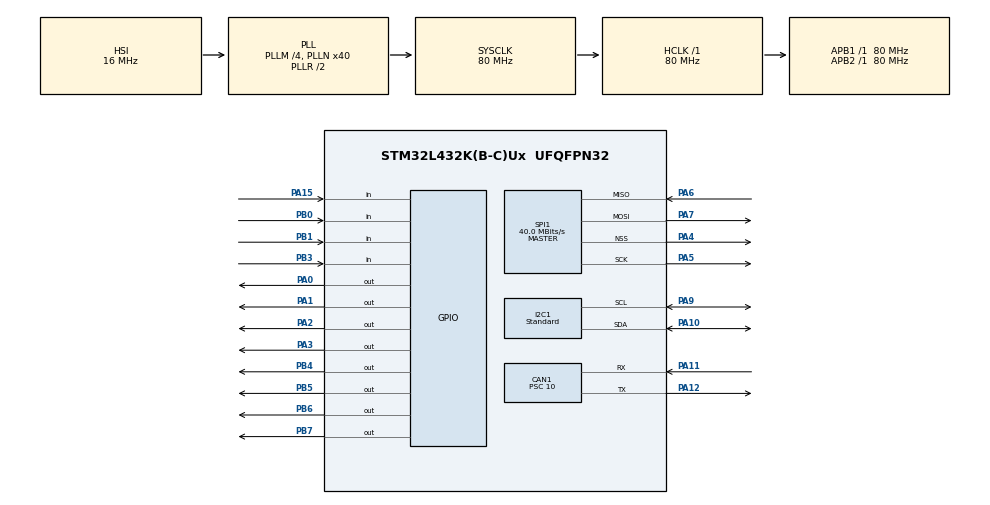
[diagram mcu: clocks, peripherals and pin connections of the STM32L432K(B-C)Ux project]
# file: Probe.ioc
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CAN1.ABOM=ENABLE
CAN1.AWUM=ENABLE
CAN1.BS1=CAN_BS1_13TQ
CAN1.BS2=CAN_BS2_2TQ
CAN1.CalculateBaudRate=500000
CAN1.CalculateTimeBit=2000
CAN1.CalculateTimeQuantum=125.0
CAN1.NART=DISABLE
CAN1.Prescaler=10
CAN1.TXFP=ENABLE
I2C1.CustomTiming=Disabled
I2C1.I2C_Speed_Mode=I2C_Standard
I2C1.Timing=0x10909CEC
Mcu.Family=STM32L4
Mcu.Name=STM32L432K(B-C)Ux
Mcu.Package=UFQFPN32
NVIC.CAN1_RX0_IRQn=true\:1\:0\:true\:false\:true\:true\:true\:true
NVIC.CAN1_SCE_IRQn=true\:2\:0\:true\:false\:true\:true\:true\:true
NVIC.PriorityGroup=NVIC_PRIORITYGROUP_2
NVIC.RCC_IRQn=true\:0\:1\:false\:false\:true\:true\:false\:true
NVIC.RTC_WKUP_IRQn=true\:0\:2\:false\:false\:true\:true\:true\:true
PA0.Signal=GPIO_Output
PA1.Signal=GPIO_Output
PA10.GPIO_Pu=GPIO_PULLUP
PA10.Mode=I2C
PA10.Signal=I2C1_SDA
PA11.Mode=CAN_Activate
PA11.Signal=CAN1_RX
PA12.Mode=CAN_Activate
PA12.Signal=CAN1_TX
PA13\ (JTMS-SWDIO).Mode=Serial_Wire
PA13\ (JTMS-SWDIO).Signal=SYS_JTMS-SWDIO
PA14\ (JTCK-SWCLK).Mode=Serial_Wire
PA14\ (JTCK-SWCLK).Signal=SYS_JTCK-SWCLK
PA15\ (JTDI).Signal=GPIO_Input
PA2.Signal=GPIO_Output
PA3.Signal=GPIO_Output
PA4.Mode=NSS_Signal_Hard_Output
PA4.Signal=SPI1_NSS
PA5.Mode=Full_Duplex_Master
PA5.Signal=SPI1_SCK
PA6.Mode=Full_Duplex_Master
PA6.Signal=SPI1_MISO
PA7.Mode=Full_Duplex_Master
PA7.Signal=SPI1_MOSI
PA9.GPIO_Pu=GPIO_PULLUP
PA9.Mode=I2C
PA9.Signal=I2C1_SCL
PB0.Signal=GPIO_Input
PB1.Signal=GPIO_Input
PB3\ (JTDO-TRACESWO).Signal=GPIO_Input
PB4\ (NJTRST).Signal=GPIO_Output
PB5.Signal=GPIO_Output
PB6.Signal=GPIO_Output
PB7.Signal=GPIO_Output
PC14-OSC32_IN\ (PC14).Mode=LSE-External-Oscillator
PC14-OSC32_IN\ (PC14).Signal=RCC_OSC32_IN
PC15-OSC32_OUT\ (PC15).Mode=LSE-External-Oscillator
PC15-OSC32_OUT\ (PC15).Signal=RCC_OSC32_OUT
ProjectManager.HeapSize=0x200
ProjectManager.StackSize=0x400
ProjectManager.TargetToolchain=STM32CubeIDE
RCC.ADCFreq_Value=20000000
RCC.AHBFreq_Value=80000000
RCC.APB1Freq_Value=80000000
RCC.APB1TimFreq_Value=80000000
RCC.APB2Freq_Value=80000000
RCC.APB2TimFreq_Value=80000000
RCC.CortexFreq_Value=80000000
RCC.HCLKFreq_Value=80000000
RCC.HSE_VALUE=8000000
RCC.HSI48_VALUE=48000000
RCC.HSI_VALUE=16000000
RCC.MSI_VALUE=4000000
RCC.PLLM=4
RCC.PLLN=40
RCC.PLLSAI1N=10
RCC.PLLSourceVirtual=RCC_PLLSOURCE_HSI
RCC.RTCClockSelection=RCC_RTCCLKSOURCE_LSE
RCC.SYSCLKFreq_VALUE=80000000
RCC.SYSCLKSource=RCC_SYSCLKSOURCE_PLLCLK
RCC.USBFreq_Value=20000000
RCC.VCOOutputFreq_Value=160000000
RCC.VDD_VALUE=3
RTC.WakeUpClock=RTC_WAKEUPCLOCK_CK_SPRE_16BITS
SPI1.CalculateBaudRate=40.0 MBits/s
SPI1.Direction=SPI_DIRECTION_2LINES
SPI1.Mode=SPI_MODE_MASTER
SPI1.VirtualNSS=VM_NSSHARD
SPI1.VirtualType=VM_MASTER
VP_RTC_VS_RTC_Activate.Mode=RTC_Enabled
VP_RTC_VS_RTC_Calendar.Mode=RTC_Calendar
VP_RTC_VS_RTC_WakeUp_intern.Mode=WakeUp
board=custom

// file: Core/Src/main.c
/* USER CODE BEGIN Header */
/**
  ******************************************************************************
  * @file           : main.c
  * @brief          : Main program body
  ******************************************************************************
  * @attention
  *
  * <h2><center>&copy; Copyright (c) 2021 STMicroelectronics.
  * All rights reserved.</center></h2>
  *
  * This software component is licensed by ST under BSD 3-Clause license,
  * the "License"; You may not use this file except in compliance with the
  * License. You may obtain a copy of the License at:
  *                        opensource.org/licenses/BSD-3-Clause
  *
  ******************************************************************************
  */
/* USER CODE END Header */
#include "main.h"
#include "can.h"
#include "i2c.h"
#include "rtc.h"
#include "spi.h"
#include "gpio.h"

/* USER CODE BEGIN Includes */
#include "BME280/bme280.h"
#include "TMP75/TMP75.h"
#include "Si7021/Si7021.h"
#include "MS5837/MS5837.h"
#include "Sensors/CANSensor.h"

#include "AT45DBxx/AT45DBxx.h"
#include "AT45DBxx/AT45DBxxConfig.h"

/* USER CODE END Includes */

/* USER CODE BEGIN PV */
static RTC_TimeTypeDef sTime = { 0 };
static RTC_DateTypeDef sDate = { 0 };

static BMP280_HandleTypedef bme280;

static CAN_TxHeaderTypeDef TxHeader;
static CAN_RxHeaderTypeDef RxHeader;
static uint8_t TxData[8] = {0,};
static uint8_t RxData[8] = {0,};
static uint32_t TxMailbox = 0;
static float* dTX = (float*)TxData;

/* USER CODE END PV */

void SystemClock_Config(void);

/* USER CODE BEGIN 0 */
static uint16_t DeviceID = 0;
static bool has_TMP75 = false, has_Si1132 = false, has_Si7021 = false, has_MS5837 = false, has_BME280 = false, has_AT45db = false;
static float tmp = 0.0, si_humidity = 0.0, si_temperature = 0.0, ms_temperature = 0.0, ms_pressure = 0.0, ms_depth = 0.0;
static uint8_t switch1 = 0, switch2 = 0;

static MS5837_t dataMS5837;

static void CAN_SendSensorData(uint16_t sid, float value)
{
  dTX[0] = value;
  TxHeader.StdId = sid;
  while(HAL_CAN_GetTxMailboxesFreeLevel(&hcan1) == 0);
  HAL_CAN_AddTxMessage(&hcan1, &TxHeader, TxData, &TxMailbox);
}

/* USER CODE END 0 */

int main(void)
{

  /* MCU Configuration--------------------------------------------------------*/

  /* Reset of all peripherals, Initializes the Flash interface and the Systick. */
  HAL_Init();

  /* Configure the system clock */
  SystemClock_Config();

  /* Initialize all configured peripherals */
  MX_GPIO_Init();
  MX_CAN1_Init();
  MX_I2C1_Init();
  MX_SPI1_Init();
  MX_RTC_Init();
  /* USER CODE BEGIN 2 */
  // DeviceID = HAL_GPIO_ReadPin(GPIOB, GPIO_PIN_6) << 1 | HAL_GPIO_ReadPin(GPIOB, GPIO_PIN_7);
  // DeviceID <<= 8;
  // MX_GPIO_PowerSave_Enter();

  has_TMP75 = TMP75_Init(&hi2c1, 0b1001000);
  has_Si7021 = Si7021_Init(&hi2c1);
  has_MS5837 = MS5837_Init(&hi2c1, &dataMS5837);

  // BME280
  bmp280_init_default_params(&bme280.params);
  bme280.addr = BMP280_I2C_ADDRESS_1;
  bme280.i2c = &hi2c1;
  has_BME280 = bmp280_init(&bme280, &bme280.params);

  has_AT45db = AT45dbxx_Init();

  TxHeader.StdId = 0x0100;
  TxHeader.ExtId = 0;
  TxHeader.RTR = CAN_RTR_DATA; // CAN_RTR_REMOTE
  TxHeader.IDE = CAN_ID_STD;   // CAN_ID_EXT
  TxHeader.DLC = 8;
  TxHeader.TransmitGlobalTime = 0;

  //HAL_CAN_Start(&hcan1);
  //HAL_CAN_ActivateNotification(&hcan1, CAN_IT_RX_FIFO0_MSG_PENDING | CAN_IT_ERROR | CAN_IT_BUSOFF | CAN_IT_LAST_ERROR_CODE);

  /* USER CODE END 2 */

  /* Infinite loop */
  /* USER CODE BEGIN WHILE */
  uint16_t delay = 100;
  while (1)
  {
    /* USER CODE END WHILE */

    /* USER CODE BEGIN 3 */
	HAL_RTC_GetTime(&hrtc, &sTime, RTC_FORMAT_BIN);
	HAL_RTC_GetDate(&hrtc, &sDate, RTC_FORMAT_BIN);

	HAL_GPIO_TogglePin(LED_Port, LED_1);
	HAL_Delay(delay);

	switch1 = HAL_GPIO_ReadPin(GPIOB, GPIO_PIN_0);
	switch2 = HAL_GPIO_ReadPin(GPIOB, GPIO_PIN_1);
	HAL_GPIO_WritePin(LED_Port, LED_3, switch1);
	HAL_GPIO_WritePin(LED_Port, LED_4, switch2);

	if (has_TMP75) {
	  tmp = TMP75_Read_Temp();
	  CAN_SendSensorData(DeviceID|CAN_Temp, tmp);
	}

	if (has_Si7021) {
	  if (Si7021_ReadBoth(&si_humidity, &si_temperature))
	  {
		CAN_SendSensorData(DeviceID|CAN_Si7021_Temp, si_temperature);
		CAN_SendSensorData(DeviceID|CAN_Si7021_Humi, si_humidity);
	  }
	}

	if (has_MS5837) {
	  if (MS5837_30BA_Calc(&dataMS5837))
	  {
		ms_temperature = dataMS5837.temperature;
		ms_pressure = dataMS5837.pressure;
		ms_depth = MS5837_Depth(&dataMS5837);
		//ms_pressure = MS5837_Altitude(&dataMS5837);

		CAN_SendSensorData(DeviceID|CAN_MS5837_Temp, ms_temperature);
		CAN_SendSensorData(DeviceID|CAN_MS5837_Press, ms_pressure);
		CAN_SendSensorData(DeviceID|CAN_MS5837_Depth, ms_depth);
	  }
	}
  }
  /* USER CODE END 3 */
}

void SystemClock_Config(void)
{
  RCC_OscInitTypeDef RCC_OscInitStruct = {0};
  RCC_ClkInitTypeDef RCC_ClkInitStruct = {0};

  /** Configure the main internal regulator output voltage
  */
  if (HAL_PWREx_ControlVoltageScaling(PWR_REGULATOR_VOLTAGE_SCALE1) != HAL_OK)
  {
    Error_Handler();
  }

  /** Configure LSE Drive Capability
  */
  HAL_PWR_EnableBkUpAccess();
  __HAL_RCC_LSEDRIVE_CONFIG(RCC_LSEDRIVE_LOW);

  /** Initializes the RCC Oscillators according to the specified parameters
  * in the RCC_OscInitTypeDef structure.
  */
  RCC_OscInitStruct.OscillatorType = RCC_OSCILLATORTYPE_HSI|RCC_OSCILLATORTYPE_LSE;
  RCC_OscInitStruct.LSEState = RCC_LSE_ON;
  RCC_OscInitStruct.HSIState = RCC_HSI_ON;
  RCC_OscInitStruct.HSICalibrationValue = RCC_HSICALIBRATION_DEFAULT;
  RCC_OscInitStruct.PLL.PLLState = RCC_PLL_ON;
  RCC_OscInitStruct.PLL.PLLSource = RCC_PLLSOURCE_HSI;
  RCC_OscInitStruct.PLL.PLLM = 4;
  RCC_OscInitStruct.PLL.PLLN = 40;
  RCC_OscInitStruct.PLL.PLLP = RCC_PLLP_DIV7;
  RCC_OscInitStruct.PLL.PLLQ = RCC_PLLQ_DIV2;
  RCC_OscInitStruct.PLL.PLLR = RCC_PLLR_DIV2;
  if (HAL_RCC_OscConfig(&RCC_OscInitStruct) != HAL_OK)
  {
    Error_Handler();
  }

  /** Initializes the CPU, AHB and APB buses clocks
  */
  RCC_ClkInitStruct.ClockType = RCC_CLOCKTYPE_HCLK|RCC_CLOCKTYPE_SYSCLK
                              |RCC_CLOCKTYPE_PCLK1|RCC_CLOCKTYPE_PCLK2;
  RCC_ClkInitStruct.SYSCLKSource = RCC_SYSCLKSOURCE_PLLCLK;
  RCC_ClkInitStruct.AHBCLKDivider = RCC_SYSCLK_DIV1;
  RCC_ClkInitStruct.APB1CLKDivider = RCC_HCLK_DIV1;
  RCC_ClkInitStruct.APB2CLKDivider = RCC_HCLK_DIV1;

  if (HAL_RCC_ClockConfig(&RCC_ClkInitStruct, FLASH_LATENCY_4) != HAL_OK)
  {
    Error_Handler();
  }
}

/* USER CODE BEGIN 4 */

void HAL_CAN_RxFifo0MsgPendingCallback(CAN_HandleTypeDef *hcan)
{
    if(HAL_CAN_GetRxMessage(hcan, CAN_RX_FIFO0, &RxHeader, RxData) == HAL_OK)
    {
        HAL_GPIO_TogglePin(LED_Port, LED_1);
    }
}

void HAL_CAN_ErrorCallback(CAN_HandleTypeDef *hcan)
{
	HAL_GPIO_WritePin(LED_Port, LED_2, 1);
	HAL_Delay(1);
	HAL_GPIO_WritePin(LED_Port, LED_2, 0);
}

void RTC_WKUP_Handler(void)
{
	HAL_GPIO_TogglePin(LED_Port, LED_2);
}

/* USER CODE END 4 */

void Error_Handler(void)
{
  __disable_irq();
  while (1)
  {
  }
}
